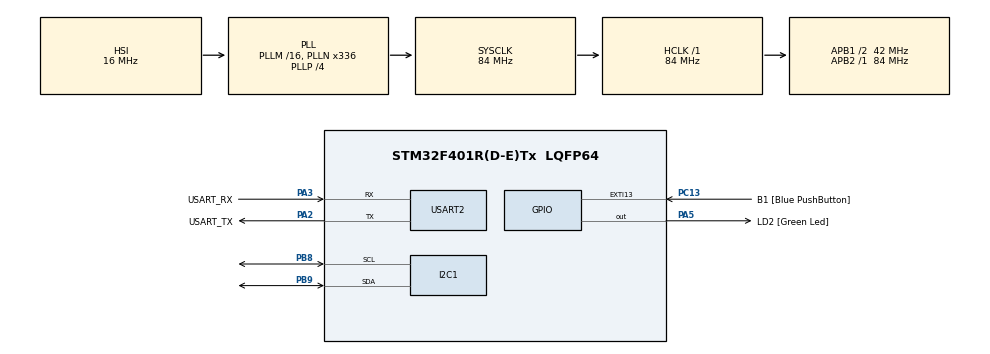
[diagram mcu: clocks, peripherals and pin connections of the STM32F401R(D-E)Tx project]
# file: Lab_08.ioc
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Dma.Request0=USART2_TX
Dma.USART2_TX.0.Direction=DMA_MEMORY_TO_PERIPH
Dma.USART2_TX.0.FIFOMode=DMA_FIFOMODE_DISABLE
Dma.USART2_TX.0.Instance=DMA1_Stream6
Dma.USART2_TX.0.MemDataAlignment=DMA_MDATAALIGN_BYTE
Dma.USART2_TX.0.MemInc=DMA_MINC_ENABLE
Dma.USART2_TX.0.Mode=DMA_NORMAL
Dma.USART2_TX.0.PeriphDataAlignment=DMA_PDATAALIGN_BYTE
Dma.USART2_TX.0.PeriphInc=DMA_PINC_DISABLE
Dma.USART2_TX.0.Priority=DMA_PRIORITY_LOW
Mcu.Family=STM32F4
Mcu.Name=STM32F401R(D-E)Tx
Mcu.Package=LQFP64
NVIC.DMA1_Stream6_IRQn=true\:0\:0\:false\:false\:true\:false\:true\:true
NVIC.PriorityGroup=NVIC_PRIORITYGROUP_0
NVIC.USART2_IRQn=true\:0\:0\:false\:false\:true\:true\:true\:true
PA13.GPIO_Label=TMS
PA13.Mode=Serial_Wire
PA13.Signal=SYS_JTMS-SWDIO
PA14.GPIO_Label=TCK
PA14.Mode=Serial_Wire
PA14.Signal=SYS_JTCK-SWCLK
PA2.GPIO_Label=USART_TX
PA2.GPIO_Mode=GPIO_MODE_AF_PP
PA2.GPIO_PuPd=GPIO_NOPULL
PA2.GPIO_Speed=GPIO_SPEED_FREQ_LOW
PA2.Mode=Asynchronous
PA2.Signal=USART2_TX
PA3.GPIO_Label=USART_RX
PA3.GPIO_Mode=GPIO_MODE_AF_PP
PA3.GPIO_PuPd=GPIO_NOPULL
PA3.GPIO_Speed=GPIO_SPEED_FREQ_LOW
PA3.Mode=Asynchronous
PA3.Signal=USART2_RX
PA5.GPIO_Label=LD2 [Green Led]
PA5.GPIO_Mode=GPIO_MODE_OUTPUT_PP
PA5.GPIO_PuPd=GPIO_NOPULL
PA5.GPIO_Speed=GPIO_SPEED_FREQ_LOW
PA5.Signal=GPIO_Output
PB3.GPIO_Label=SWO
PB3.Signal=SYS_JTDO-SWO
PB8.Mode=I2C
PB8.Signal=I2C1_SCL
PB9.Mode=I2C
PB9.Signal=I2C1_SDA
PC13-ANTI_TAMP.GPIO_Label=B1 [Blue PushButton]
PC13-ANTI_TAMP.GPIO_ModeDefaultEXTI=GPIO_MODE_IT_FALLING
PC13-ANTI_TAMP.GPIO_PuPd=GPIO_NOPULL
PC13-ANTI_TAMP.Signal=GPXTI13
PC14-OSC32_IN.Mode=LSE-External-Oscillator
PC14-OSC32_IN.Signal=RCC_OSC32_IN
PC15-OSC32_OUT.Mode=LSE-External-Oscillator
PC15-OSC32_OUT.Signal=RCC_OSC32_OUT
PH0\ -\ OSC_IN.Mode=HSE-External-Clock-Source
PH0\ -\ OSC_IN.Signal=RCC_OSC_IN
PH1\ -\ OSC_OUT.Mode=HSE-External-Clock-Source
PH1\ -\ OSC_OUT.Signal=RCC_OSC_OUT
ProjectManager.HeapSize=0x200
ProjectManager.StackSize=0x400
ProjectManager.TargetToolchain=STM32CubeIDE
RCC.48MHZClocksFreq_Value=48000000
RCC.AHBFreq_Value=84000000
RCC.APB1CLKDivider=RCC_HCLK_DIV2
RCC.APB1Freq_Value=42000000
RCC.APB1TimFreq_Value=84000000
RCC.APB2Freq_Value=84000000
RCC.APB2TimFreq_Value=84000000
RCC.CortexFreq_Value=84000000
RCC.HCLKFreq_Value=84000000
RCC.HSE_VALUE=8000000
RCC.HSI_VALUE=16000000
RCC.PLLN=336
RCC.PLLP=RCC_PLLP_DIV4
RCC.PLLQ=7
RCC.SYSCLKFreq_VALUE=84000000
RCC.SYSCLKSource=RCC_SYSCLKSOURCE_PLLCLK
RCC.VCOOutputFreq_Value=336000000
USART2.VirtualMode=VM_ASYNC
board=NUCLEO-F401RE

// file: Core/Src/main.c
/* USER CODE BEGIN Header */
/**
  ******************************************************************************
  * @file           : main.c
  * @brief          : Main program body
  ******************************************************************************
  * @attention
  *
  * Copyright (c) 2024 STMicroelectronics.
  * All rights reserved.
  *
  * This software is licensed under terms that can be found in the LICENSE file
  * in the root directory of this software component.
  * If no LICENSE file comes with this software, it is provided AS-IS.
  *
  ******************************************************************************
  */
/* USER CODE END Header */
#include "main.h"

/* USER CODE BEGIN PD */
#define WRITE_PORT(x) (x << 1)
#define READ_PORT(x) ((x << 1) | 1)

/* USER CODE END PD */

I2C_HandleTypeDef hi2c1;

UART_HandleTypeDef huart2;
DMA_HandleTypeDef hdma_usart2_tx;

/* USER CODE BEGIN PV */
uint16_t acc_address = 0x28; //0101000 address of LIS2DE version of accelerometre
uint32_t cnt = 0;
HAL_StatusTypeDef status;

uint8_t CTRL_REG1[] = {0x20, 0b00010111};
uint8_t CTRL_REG2[] = {0x21, 0b00000000};
uint8_t CTRL_REG4[] = {0x23, 0b00000000};

/* USER CODE END PV */

void SystemClock_Config(void);
static void MX_GPIO_Init(void);
static void MX_DMA_Init(void);
static void MX_USART2_UART_Init(void);
static void MX_I2C1_Init(void);

int main(void)
{

  /* MCU Configuration--------------------------------------------------------*/

  /* Reset of all peripherals, Initializes the Flash interface and the Systick. */
  HAL_Init();

  /* Configure the system clock */
  SystemClock_Config();

  /* Initialize all configured peripherals */
  MX_GPIO_Init();
  MX_DMA_Init();
  MX_USART2_UART_Init();
  MX_I2C1_Init();
  /* USER CODE BEGIN 2 */

  //try both index of the accelerometer, in the end you have in the variable the correct one
  if(HAL_I2C_Master_Transmit(&hi2c1, WRITE_PORT(acc_address), CTRL_REG1, 2, 10) != HAL_OK) { //this is my accelerometre index
   acc_address = 0x18; //this is the second index of the 2nd version of the accelerometre LIS2DE12: 0011000
   	   if(HAL_I2C_Master_Transmit(&hi2c1, WRITE_PORT(acc_address), CTRL_REG1, 2, 10) != HAL_OK){
   		   //err
   	   }
  }
  	  	  	  	  	  	  	  	  	  	  	  	  	  	  	  	  	  	  	  	//CTRL_REG1: set the data rate and enable the 3 Axis
   HAL_I2C_Master_Transmit(&hi2c1, WRITE_PORT(acc_address), CTRL_REG2, 2, 10);  //CTRL_REG2: enable high pass filter to remove the contribution of gravity
   HAL_I2C_Master_Transmit(&hi2c1, WRITE_PORT(acc_address), CTRL_REG4, 2, 10);  //CTRL_REG4: select the full scale: +/-2g

  /* USER CODE END 2 */

  /* Infinite loop */
  while (1)
  {

    /* USER CODE BEGIN 3 */
    int8_t reg = 0x29; //register for x axis
	int8_t x, y, z;
	HAL_I2C_Master_Transmit(&hi2c1, WRITE_PORT(acc_address), &reg, 1, 10); //Write the address of the register to read
	HAL_I2C_Master_Receive(&hi2c1, READ_PORT(acc_address), &x, 1, 10);     //read the data

	float send_x = (float)x / 64.0f; // we divide by 64 because in the datasheet the sensibility for the accelerometre when the range is */-2g, is 64 LSB/g, so every g is represented with 64 digital unit

	reg = 0x2B; //register for y axis
	HAL_I2C_Master_Transmit(&hi2c1, WRITE_PORT(acc_address), &reg, 1, 10); //Write the address of the register to read
	HAL_I2C_Master_Receive(&hi2c1, READ_PORT(acc_address), &y, 1, 10);     //read the data

	float send_y = (float)y / 64.0f;

	reg = 0x2D; //register for z axis
	HAL_I2C_Master_Transmit(&hi2c1, WRITE_PORT(acc_address), &reg, 1, 10); //Write the address of the register to read
	HAL_I2C_Master_Receive(&hi2c1, READ_PORT(acc_address), &z, 1, 10);     //read the data

	float send_z = (float)z / 64.0f;

	char str[64];
	int len = snprintf(str, 64, "%d: Accelerations: %.3f %.3f %.3f\r\n", cnt, send_x, send_y, send_z);
	cnt++;
	HAL_UART_Transmit(&huart2, str, len, 100);

	HAL_Delay(500);

  }
  /* USER CODE END 3 */
}

void SystemClock_Config(void)
{
  RCC_OscInitTypeDef RCC_OscInitStruct = {0};
  RCC_ClkInitTypeDef RCC_ClkInitStruct = {0};

  /** Configure the main internal regulator output voltage
  */
  __HAL_RCC_PWR_CLK_ENABLE();
  __HAL_PWR_VOLTAGESCALING_CONFIG(PWR_REGULATOR_VOLTAGE_SCALE2);

  /** Initializes the RCC Oscillators according to the specified parameters
  * in the RCC_OscInitTypeDef structure.
  */
  RCC_OscInitStruct.OscillatorType = RCC_OSCILLATORTYPE_HSI;
  RCC_OscInitStruct.HSIState = RCC_HSI_ON;
  RCC_OscInitStruct.HSICalibrationValue = RCC_HSICALIBRATION_DEFAULT;
  RCC_OscInitStruct.PLL.PLLState = RCC_PLL_ON;
  RCC_OscInitStruct.PLL.PLLSource = RCC_PLLSOURCE_HSI;
  RCC_OscInitStruct.PLL.PLLM = 16;
  RCC_OscInitStruct.PLL.PLLN = 336;
  RCC_OscInitStruct.PLL.PLLP = RCC_PLLP_DIV4;
  RCC_OscInitStruct.PLL.PLLQ = 7;
  if (HAL_RCC_OscConfig(&RCC_OscInitStruct) != HAL_OK)
  {
    Error_Handler();
  }

  /** Initializes the CPU, AHB and APB buses clocks
  */
  RCC_ClkInitStruct.ClockType = RCC_CLOCKTYPE_HCLK|RCC_CLOCKTYPE_SYSCLK
                              |RCC_CLOCKTYPE_PCLK1|RCC_CLOCKTYPE_PCLK2;
  RCC_ClkInitStruct.SYSCLKSource = RCC_SYSCLKSOURCE_PLLCLK;
  RCC_ClkInitStruct.AHBCLKDivider = RCC_SYSCLK_DIV1;
  RCC_ClkInitStruct.APB1CLKDivider = RCC_HCLK_DIV2;
  RCC_ClkInitStruct.APB2CLKDivider = RCC_HCLK_DIV1;

  if (HAL_RCC_ClockConfig(&RCC_ClkInitStruct, FLASH_LATENCY_2) != HAL_OK)
  {
    Error_Handler();
  }
}

static void MX_I2C1_Init(void)
{

  hi2c1.Instance = I2C1;
  hi2c1.Init.ClockSpeed = 100000;
  hi2c1.Init.DutyCycle = I2C_DUTYCYCLE_2;
  hi2c1.Init.OwnAddress1 = 0;
  hi2c1.Init.AddressingMode = I2C_ADDRESSINGMODE_7BIT;
  hi2c1.Init.DualAddressMode = I2C_DUALADDRESS_DISABLE;
  hi2c1.Init.OwnAddress2 = 0;
  hi2c1.Init.GeneralCallMode = I2C_GENERALCALL_DISABLE;
  hi2c1.Init.NoStretchMode = I2C_NOSTRETCH_DISABLE;
  if (HAL_I2C_Init(&hi2c1) != HAL_OK)
  {
    Error_Handler();
  }

}

static void MX_USART2_UART_Init(void)
{

  huart2.Instance = USART2;
  huart2.Init.BaudRate = 115200;
  huart2.Init.WordLength = UART_WORDLENGTH_8B;
  huart2.Init.StopBits = UART_STOPBITS_1;
  huart2.Init.Parity = UART_PARITY_NONE;
  huart2.Init.Mode = UART_MODE_TX_RX;
  huart2.Init.HwFlowCtl = UART_HWCONTROL_NONE;
  huart2.Init.OverSampling = UART_OVERSAMPLING_16;
  if (HAL_UART_Init(&huart2) != HAL_OK)
  {
    Error_Handler();
  }

}

static void MX_DMA_Init(void)
{

  /* DMA controller clock enable */
  __HAL_RCC_DMA1_CLK_ENABLE();

  /* DMA interrupt init */
  /* DMA1_Stream6_IRQn interrupt configuration */
  HAL_NVIC_SetPriority(DMA1_Stream6_IRQn, 0, 0);
  HAL_NVIC_EnableIRQ(DMA1_Stream6_IRQn);

}

static void MX_GPIO_Init(void)
{
  GPIO_InitTypeDef GPIO_InitStruct = {0};

  /* GPIO Ports Clock Enable */
  __HAL_RCC_GPIOC_CLK_ENABLE();
  __HAL_RCC_GPIOH_CLK_ENABLE();
  __HAL_RCC_GPIOA_CLK_ENABLE();
  __HAL_RCC_GPIOB_CLK_ENABLE();

  /*Configure GPIO pin Output Level */
  HAL_GPIO_WritePin(LD2_GPIO_Port, LD2_Pin, GPIO_PIN_RESET);

  /*Configure GPIO pin : B1_Pin */
  GPIO_InitStruct.Pin = B1_Pin;
  GPIO_InitStruct.Mode = GPIO_MODE_IT_FALLING;
  GPIO_InitStruct.Pull = GPIO_NOPULL;
  HAL_GPIO_Init(B1_GPIO_Port, &GPIO_InitStruct);

  /*Configure GPIO pin : LD2_Pin */
  GPIO_InitStruct.Pin = LD2_Pin;
  GPIO_InitStruct.Mode = GPIO_MODE_OUTPUT_PP;
  GPIO_InitStruct.Pull = GPIO_NOPULL;
  GPIO_InitStruct.Speed = GPIO_SPEED_FREQ_LOW;
  HAL_GPIO_Init(LD2_GPIO_Port, &GPIO_InitStruct);

}

void Error_Handler(void)
{
  __disable_irq();
  while (1)
  {
  }
}
